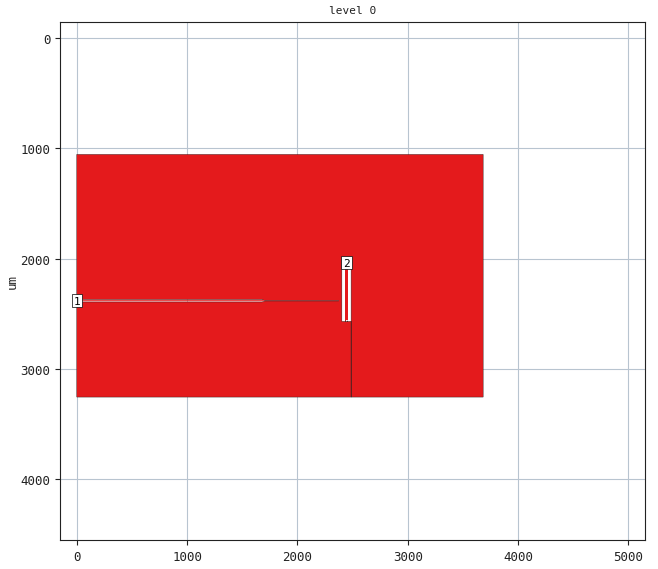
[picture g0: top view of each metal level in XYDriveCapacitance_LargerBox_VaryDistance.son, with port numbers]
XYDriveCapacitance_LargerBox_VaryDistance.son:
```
FTYP SONPROJ 15 ! Sonnet Project File
VER 16.52
HEADER
LIC calt2.2.43068 b6ae2bd1257f DESKTOP-SL82IK9 Michael
DAT 07/14/2016 16:31:27
BUILT_BY_CREATED xgeom 16.52 04/11/2016 14:48:12
BUILT_BY_SAVED xgeom 16.52
MDATE 07/13/2016 19:07:02
HDATE 07/13/2016 19:06:24
END HEADER
DIM
FREQ GHZ
IND NH
LNG UM
ANG DEG
CON /OH
CAP PF
RES OH
END DIM
FREQ
ABS 5.0 26.0 
STEP 0.1
END FREQ
CONTROL
VARSWP
OPTIONS  -d 
SPEED 0
CACHE_ABS 1
TARG_ABS 300
Q_ACC Y
DET_ABS_RES Y
END CONTROL
GEO
DRP1 LEFT FIX 1250
DRP1 RIGHT FIX 100
TMET "Free Space" 0 FREESPACE 376.7303136 0 0 0
BMET "Lossless" 0 SUP 0 0 0 0
BOX 1 5000 4400 10000 8800 20 0
      1000 1 1 0 0 0 0 "Unnamed"
      500 11.9 1 5e-006 0 0 0 "Silicon (intrinsic)"
VALVAR groundDistance NONE 30 "Dim. Param."
LORGN 0 4400 U 
POR1 AGND
POLY 11 1
4
2 50 0 0 0 2445 2037 NONE 
POR1 STD
POLY 15 1
200
1 50 0 0 0 -3.551348598e-005 2381 
NUM 3
0 17 -1 N 11 1 1 100 100 0 0 0 Y
2454 2559
2452 2559
2452 2557
2457 2557
2457 2037
2433 2037
2433 2557
2438 2557
2438 2559
2436 2559
2436 2561
2440 2561
2440 2557
2450 2557
2450 2561
2454 2561
2454 2559
END
0 227 -1 N 14 1 1 100 100 0 0 0 Y
3684 1053.999878
-3.757880127e-005 1053.999878
-3.757880127e-005 2370
1679 2370
1679.26 2370.09
1679.51 2370.18
1679.77 2370.27
1680.02 2370.36
1680.28 2370.45
1680.53 2370.54
1680.79 2370.63
1681.04 2370.72
1681.3 2370.81
1681.55 2370.9
1681.81 2370.99
1682.06 2371.08
1682.32 2371.17
1682.57 2371.26
1682.83 2371.35
1683.08 2371.44
1683.34 2371.53
1683.59 2371.62
1683.85 2371.71
1684.1 2371.8
1684.36 2371.89
1684.61 2371.98
1684.87 2372.07
1685.12 2372.15
1685.38 2372.24
1685.63 2372.33
1685.89 2372.42
1686.14 2372.51
1686.4 2372.6
1686.65 2372.69
1686.91 2372.78
1687.16 2372.87
1687.42 2372.96
1687.67 2373.05
1687.93 2373.14
1688.18 2373.23
1688.44 2373.32
1688.69 2373.41
1688.95 2373.5
1689.2 2373.59
1689.46 2373.68
1689.71 2373.77
1689.97 2373.86
1690.22 2373.95
1690.48 2374.04
1690.73 2374.13
1690.99 2374.22
1691.24 2374.31
1691.5 2374.4
1691.76 2374.49
1692.01 2374.58
1692.26 2374.67
1692.52 2374.76
1692.78 2374.85
1693.03 2374.94
1693.29 2375.03
1693.54 2375.12
1693.8 2375.21
1694.05 2375.3
1694.31 2375.39
1694.56 2375.48
1694.82 2375.57
1695.07 2375.66
1695.33 2375.75
1695.58 2375.84
1695.84 2375.93
1696.09 2376.02
1696.35 2376.11
1696.6 2376.2
1696.86 2376.29
1697.11 2376.38
1697.37 2376.47
1697.62 2376.56
1697.88 2376.64
1698.13 2376.74
1698.39 2376.82
1698.64 2376.91
1698.9 2377
1699.15 2377.09
1699.41 2377.18
1699.66 2377.27
1699.92 2377.36
1700.17 2377.45
1700.43 2377.54
1700.68 2377.63
1700.94 2377.72
1701.19 2377.81
1701.45 2377.9
1701.7 2377.99
1701.96 2378.08
1702.21 2378.17
1702.47 2378.26
1702.72 2378.35
1702.98 2378.44
1703.23 2378.53
1703.49 2378.62
1703.74 2378.71
1704 2378.8
2373 2378.8
2373 2381
2373 2383.2
1704 2383.2
1703.74 2383.29
1703.49 2383.38
1703.23 2383.47
1702.98 2383.56
1702.72 2383.65
1702.47 2383.74
1702.21 2383.83
1701.96 2383.92
1701.7 2384.01
1701.45 2384.1
1701.19 2384.19
1700.94 2384.28
1700.68 2384.37
1700.43 2384.46
1700.17 2384.55
1699.92 2384.64
1699.66 2384.73
1699.41 2384.82
1699.15 2384.91
1698.9 2385
1698.64 2385.09
1698.39 2385.18
1698.13 2385.26
1697.88 2385.35
1697.62 2385.44
1697.37 2385.53
1697.11 2385.62
1696.86 2385.71
1696.6 2385.8
1696.35 2385.89
1696.09 2385.98
1695.84 2386.07
1695.58 2386.16
1695.33 2386.25
1695.07 2386.34
1694.82 2386.43
1694.56 2386.52
1694.31 2386.61
1694.05 2386.7
1693.8 2386.79
1693.54 2386.88
1693.29 2386.97
1693.03 2387.06
1692.78 2387.15
1692.52 2387.24
1692.27 2387.33
1692.01 2387.42
1691.76 2387.51
1691.5 2387.6
1691.24 2387.69
1690.99 2387.78
1690.73 2387.87
1690.48 2387.96
1690.22 2388.05
1689.97 2388.14
1689.71 2388.23
1689.46 2388.32
1689.2 2388.41
1688.95 2388.5
1688.69 2388.59
1688.44 2388.68
1688.18 2388.77
1687.93 2388.86
1687.67 2388.95
1687.42 2389.04
1687.16 2389.13
1686.91 2389.22
1686.65 2389.31
1686.4 2389.4
1686.14 2389.49
1685.89 2389.58
1685.63 2389.66
1685.38 2389.75
1685.12 2389.84
1684.87 2389.93
1684.61 2390.02
1684.36 2390.11
1684.1 2390.2
1683.85 2390.29
1683.59 2390.38
1683.34 2390.47
1683.08 2390.56
1682.83 2390.65
1682.57 2390.74
1682.32 2390.83
1682.06 2390.92
1681.81 2391.01
1681.55 2391.1
1681.3 2391.19
1681.04 2391.28
1680.79 2391.37
1680.53 2391.46
1680.28 2391.55
1680.02 2391.64
1679.76 2391.73
1679.51 2391.82
1679.26 2391.91
1679 2392
-3.757880127e-005 2392
-3.757880127e-005 3254.000145
2487 3254.000145
2487 2568
2456 2568
2456 2564
2452 2564
2452 2566
2454 2566
2454 2568
2436 2568
2436 2566
2438 2566
2438 2564
2434 2564
2434 2568
2403 2568
2403 2007
2487 2007
2487 2568
2487 3254.000145
3684 3254.000145
3684 1053.999878
END
0 204 -1 N 15 1 1 100 100 0 0 0 Y
1679.26 2385.96
1679.51 2385.92
1679.76 2385.88
1680.02 2385.84
1680.28 2385.8
1680.53 2385.75
1680.79 2385.71
1681.04 2385.67
1681.3 2385.63
1681.55 2385.59
1681.81 2385.55
1682.06 2385.51
1682.32 2385.47
1682.57 2385.43
1682.83 2385.39
1683.08 2385.35
1683.34 2385.31
1683.59 2385.27
1683.85 2385.22
1684.1 2385.18
1684.36 2385.14
1684.61 2385.1
1684.87 2385.06
1685.12 2385.02
1685.38 2384.98
1685.63 2384.94
1685.89 2384.9
1686.14 2384.86
1686.4 2384.82
1686.65 2384.78
1686.91 2384.74
1687.16 2384.69
1687.42 2384.65
1687.67 2384.61
1687.93 2384.57
1688.18 2384.53
1688.44 2384.49
1688.69 2384.45
1688.95 2384.41
1689.2 2384.37
1689.46 2384.33
1689.71 2384.29
1689.97 2384.24
1690.22 2384.2
1690.48 2384.16
1690.73 2384.12
1690.99 2384.08
1691.24 2384.04
1691.5 2384
1691.76 2383.96
1692.01 2383.92
1692.27 2383.88
1692.52 2383.84
1692.78 2383.8
1693.03 2383.76
1693.29 2383.71
1693.54 2383.67
1693.8 2383.63
1694.05 2383.59
1694.31 2383.55
1694.56 2383.51
1694.82 2383.47
1695.07 2383.43
1695.33 2383.39
1695.58 2383.35
1695.84 2383.31
1696.09 2383.26
1696.35 2383.22
1696.6 2383.18
1696.86 2383.14
1697.11 2383.1
1697.37 2383.06
1697.62 2383.02
1697.88 2382.98
1698.13 2382.94
1698.39 2382.9
1698.64 2382.86
1698.9 2382.82
1699.15 2382.78
1699.41 2382.74
1699.66 2382.69
1699.92 2382.65
1700.17 2382.61
1700.43 2382.57
1700.68 2382.53
1700.94 2382.49
1701.19 2382.45
1701.45 2382.41
1701.7 2382.37
1701.96 2382.33
1702.21 2382.29
1702.47 2382.24
1702.72 2382.2
1702.98 2382.16
1703.24 2382.12
1703.49 2382.08
1703.74 2382.04
1704 2382
2371.8 2382
2371.8 2381
2371.8 2380
1704 2380
1703.74 2379.96
1703.49 2379.92
1703.24 2379.88
1702.98 2379.84
1702.72 2379.8
1702.47 2379.75
1702.21 2379.71
1701.96 2379.67
1701.7 2379.63
1701.45 2379.59
1701.19 2379.55
1700.94 2379.51
1700.68 2379.47
1700.43 2379.43
1700.17 2379.39
1699.92 2379.35
1699.66 2379.31
1699.41 2379.26
1699.15 2379.22
1698.9 2379.18
1698.64 2379.14
1698.39 2379.1
1698.13 2379.06
1697.88 2379.02
1697.62 2378.98
1697.37 2378.94
1697.11 2378.9
1696.86 2378.86
1696.6 2378.82
1696.35 2378.78
1696.09 2378.74
1695.84 2378.69
1695.58 2378.65
1695.33 2378.61
1695.07 2378.57
1694.82 2378.53
1694.56 2378.49
1694.31 2378.45
1694.05 2378.41
1693.8 2378.37
1693.54 2378.33
1693.29 2378.29
1693.03 2378.24
1692.78 2378.2
1692.52 2378.16
1692.27 2378.12
1692.01 2378.08
1691.76 2378.04
1691.5 2378
1691.24 2377.96
1690.99 2377.92
1690.73 2377.88
1690.48 2377.84
1690.22 2377.8
1689.97 2377.76
1689.71 2377.71
1689.46 2377.67
1689.2 2377.63
1688.95 2377.59
1688.69 2377.55
1688.44 2377.51
1688.18 2377.47
1687.93 2377.43
1687.67 2377.39
1687.42 2377.35
1687.16 2377.31
1686.91 2377.27
1686.65 2377.22
1686.4 2377.18
1686.14 2377.14
1685.89 2377.1
1685.63 2377.06
1685.38 2377.02
1685.12 2376.98
1684.87 2376.94
1684.61 2376.9
1684.36 2376.86
1684.1 2376.82
1683.85 2376.78
1683.59 2376.73
1683.34 2376.69
1683.08 2376.65
1682.83 2376.61
1682.57 2376.57
1682.32 2376.53
1682.06 2376.49
1681.81 2376.45
1681.55 2376.41
1681.3 2376.37
1681.04 2376.33
1680.79 2376.29
1680.53 2376.24
1680.28 2376.2
1680.02 2376.16
1679.77 2376.12
1679.51 2376.08
1679.26 2376.04
1679 2376
-3.551348598e-005 2376
-3.551348598e-005 2386
1679 2386
1679.26 2385.96
END
END GEO
OPT
MAX 100
VARS
VAR groundDistance N UNDEF UNDEF UNDEF
END
END OPT
VARSWP
STEP 0.1
VAR groundDistance Y 20.0 40.0 10.0
END
END VARSWP
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```
